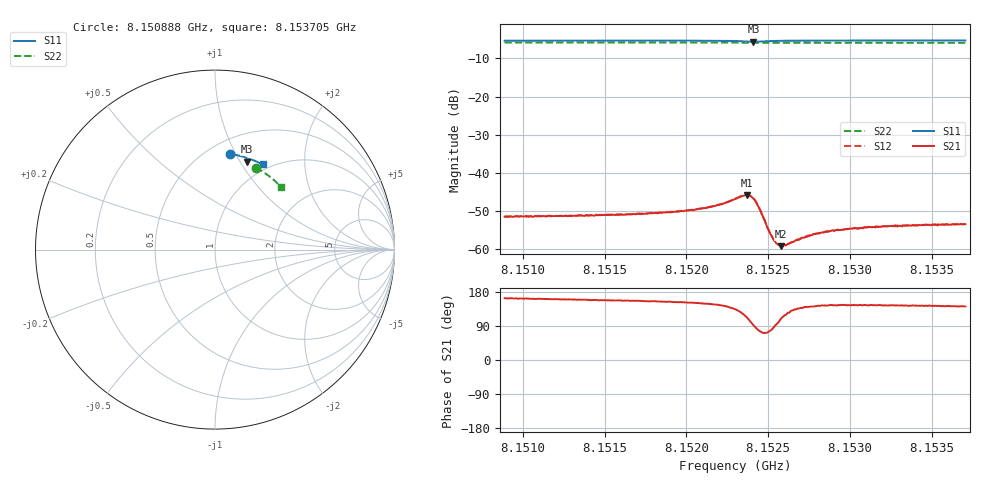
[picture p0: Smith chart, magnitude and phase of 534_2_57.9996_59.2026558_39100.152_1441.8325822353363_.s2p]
#  HZ  S  RI  R  50.00
! Rohde & Schwarz Vector Network Analyzer
! Rohde-Schwarz,ZNB20-2Port,1311601062101988,3.16
! Created: UTC 3/21/2024, 1:14:13 AM
! freq[Hz]  re:S11  im:S11  re:S21  im:S21  re:S12  im:S12  re:S22  im:S22
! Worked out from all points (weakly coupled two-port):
!   401 points, 8.150888 GHz to 8.153705 GHz, reference 50 ohm
!   highest |S21| = -45.77 dB at 8.152367 GHz (marker M1); lowest = -59.1 dB at 8.152579 GHz (marker M2)
!   lowest |S11| = -5.6 dB at 8.15241 GHz (marker M3), VSWR 3.19, Z = 39.7 + j53.6 ohm
!   |S11| at or under -10 dB: nowhere
!   |S22| runs from -5.9 to -5.8 dB; largest |S21 - S12| = 0.00012
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8.1508884e9  0.0833 0.5327  -0.00256 0.000772  -0.0026 0.000881  0.2278 0.4568
8.1513603e9  0.116 0.5273  -0.00258 0.000995  -0.00261 0.00104  0.2543 0.442
8.1518321e9  0.1489 0.5196  -0.00271 0.0013  -0.00272 0.00136  0.2797 0.4255
8.1520574e9  0.1653 0.5144  -0.00292 0.00165  -0.00288 0.00168  0.2916 0.4171
8.1522124e9  0.1776 0.5088  -0.00318 0.00228  -0.00313 0.00238  0.2993 0.411
8.1522969e9  0.1842 0.5026  -0.00318 0.00327  -0.00318 0.00333  0.3037 0.4076
8.1523673e9  0.1848 0.4929  -0.00203 0.00473  -0.00201 0.00478  0.3069 0.4046
8.1523884e9  0.1821 0.4908  -0.00113 0.0049  -0.0011 0.00494  0.3078 0.4037
8.1524095e9  0.1787 0.4907  -0.000147 0.00465  -8.89e-05 0.00469  0.3086 0.4031
8.1524236e9  0.1766 0.4919  0.000361 0.00422  0.000405 0.00425  0.3092 0.4025
8.1524447e9  0.1752 0.4951  0.000776 0.00338  0.000841 0.00341  0.3103 0.402
8.1525011e9  0.1787 0.5019  0.000493 0.00175  0.000543 0.00174  0.313 0.3999
8.1525222e9  0.181 0.5032  0.000248 0.00146  0.000237 0.00148  0.3142 0.3992
8.1525504e9  0.1842 0.504  -9.02e-05 0.0012  -6.49e-05 0.00124  0.3157 0.3981
8.1525785e9  0.1871 0.5043  -0.000359 0.00104  -0.000366 0.00108  0.3173 0.397
8.1526138e9  0.1906 0.5042  -0.000609 0.00099  -0.000589 0.00101  0.319 0.3955
8.1527123e9  0.1991 0.5025  -0.00107 0.000964  -0.00106 0.000948  0.3238 0.3914
8.1527687e9  0.2035 0.5014  -0.0012 0.000968  -0.00121 0.000959  0.3265 0.3889
8.1528814e9  0.2117 0.4986  -0.00144 0.000993  -0.0014 0.00102  0.3318 0.3842
8.1530152e9  0.2209 0.4951  -0.00153 0.00109  -0.00154 0.00109  0.3382 0.3783
8.1532405e9  0.2359 0.4887  -0.00164 0.00118  -0.00164 0.00121  0.3484 0.3686
8.1537053e9  0.2652 0.4743  -0.00167 0.00134  -0.00165 0.00136  0.3687 0.3473
